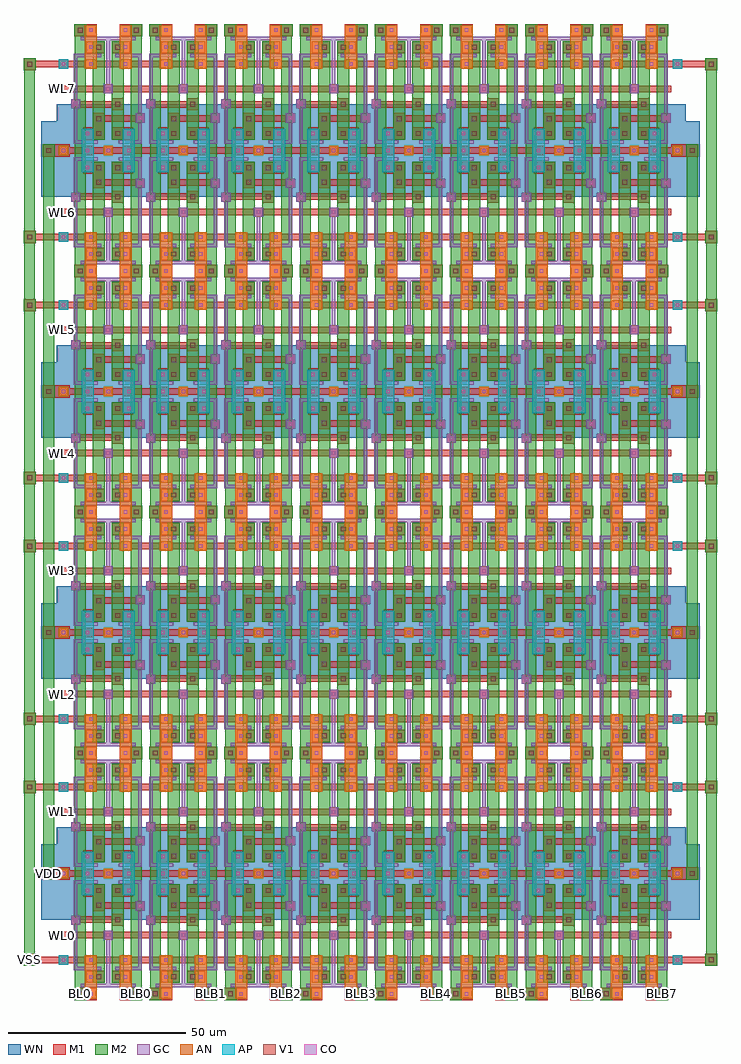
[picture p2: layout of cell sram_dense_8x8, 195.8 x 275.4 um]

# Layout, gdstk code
import gdstk
lib = gdstk.Library(unit=1e-6, precision=1e-07)
def R(c, l, rs):  # rectangles x0, y0, x1, y1
    for r in rs: c.add(gdstk.rectangle(r[:2], r[2:], *l))
def A(c, l, x, y, w, h, nx, ny, dx, dy):  # array of equal rectangles
    R(c, l, [(x+i*dx, y+j*dy, x+i*dx+w, y+j*dy+h) for i in range(nx) for j in range(ny)])
AP = (3, 1)
AN = (3, 2)
GC = (8, 1)
CO = (11, 0)
M1 = (13, 0)
V1 = (19, 0)
M2 = (20, 0)
WN = (140, 0)

sram_dense = lib.new_cell('sram_dense')
R(sram_dense, AP, [(3.3,27.9,6.7,35.3), (14.9,27.9,18.3,35.3)])
R(sram_dense, AN, [(4.2,-1.3,7.6,10.9), (14,-1.3,17.4,10.9), (9.5,32.7,12.1,35.3)])
R(sram_dense, GC, [(3,1.9,8.8,2.9), (5.4,1.9,16.2,2.9), (10.3,1.9,11.3,17.1), (12.8,1.9,18.6,2.9), (1.1,6.7,6.4,7.7), (1.1,6.7,2.1,32.1), (3,6.7,8.8,7.7), (12.8,6.7,18.6,7.7), (15.2,6.7,20.3,7.7), (19.3,6.7,20.3,32.1), (9.5,15.3,12.1,17.9), (0.3,19.5,2.9,22.1), (18.5,23.5,21.1,26.1), (1.1,31.1,5.5,32.1), (2.1,31.1,7.9,32.1), (13.7,31.1,19.5,32.1), (16.1,31.1,20.3,32.1)])
A(sram_dense, CO, 5.4, -0.5, 1, 1, 1, 3, 0, 4.8)
A(sram_dense, CO, 15.2, -0.5, 1, 1, 1, 3, 0, 4.8)
A(sram_dense, CO, 4.5, 33.5, 1, 1, 3, 1, 5.8, 0)
R(sram_dense, CO, [(10.3,16.1,11.3,17.1), (1.1,20.3,2.1,21.3), (19.3,24.3,20.3,25.3), (4.5,28.7,5.5,29.7), (16.1,28.7,17.1,29.7)])
A(sram_dense, M1, 4.6, -1.3, 2.6, 2.6, 1, 3, 0, 4.8)
A(sram_dense, M1, 14.4, -1.3, 2.6, 2.6, 1, 3, 0, 4.8)
A(sram_dense, M1, 3.7, 32.7, 2.6, 2.6, 3, 1, 5.8, 0)
R(sram_dense, M1, [(1.2,-1.7,7.6,1.7), (1.2,-1.7,4.6,1.7), (14,-1.7,20.4,1.7), (17,-1.7,20.4,1.7), (4.6,3.1,9.4,6.5), (6.4,3.1,9.8,6.5), (11.8,3.1,15.2,6.5), (12.2,3.1,17,6.5), (0,8.7,21.2,10.5), (9.5,15.3,12.1,17.9), (0,15.7,21.2,17.5), (11.8,19.3,15.2,22.7), (0.3,19.5,2.9,22.1), (0.7,20.1,14.4,21.9), (6.4,23.3,9.8,26.7), (6.4,23.3,9.8,30.9), (18.5,23.5,21.1,26.1), (7.2,24.1,20.7,25.9), (3.7,27.5,9.4,30.9), (6.4,27.5,9.8,30.9), (11.8,27.5,15.2,30.9), (12.2,27.5,17.9,30.9), (3.7,27.9,6.3,30.5), (15.3,27.9,17.9,30.5), (0,33.1,21.2,34.9)])
R(sram_dense, V1, [(2.2,-0.7,3.6,0.7), (18,-0.7,19.4,0.7), (7.4,4.1,8.8,5.5), (12.8,4.1,14.2,5.5), (12.8,20.3,14.2,21.7), (7.4,24.3,8.8,25.7), (7.4,28.5,8.8,29.9), (12.8,28.5,14.2,29.9)])
R(sram_dense, M2, [(1.2,-1.7,4.6,1.7), (1.4,-1.7,4.4,34), (17,-1.7,20.4,1.7), (17.2,-1.7,20.2,34), (6.4,3.1,9.8,6.5), (6.4,3.1,9.8,30.9), (11.8,3.1,15.2,6.5), (11.8,3.1,15.2,30.9), (11.8,19.3,15.2,22.7), (6.4,23.3,9.8,26.7), (6.4,27.5,9.8,30.9), (11.8,27.5,15.2,30.9)])
R(sram_dense, WN, [(-3.7,20.9,25.3,42.3)])

sram_dense_8x8 = lib.new_cell('sram_dense_8x8')
R(sram_dense_8x8, AP, [(-3.1,8.3,-0.5,10.9), (170.1,8.3,172.7,10.9), (-3.1,57.1,-0.5,59.7), (170.1,57.1,172.7,59.7), (-3.1,76.3,-0.5,78.9), (170.1,76.3,172.7,78.9), (-3.1,125.1,-0.5,127.7), (170.1,125.1,172.7,127.7), (-3.1,144.3,-0.5,146.9), (170.1,144.3,172.7,146.9), (-3.1,193.1,-0.5,195.7), (170.1,193.1,172.7,195.7), (-3.1,212.3,-0.5,214.9), (170.1,212.3,172.7,214.9), (-3.1,261.1,-0.5,263.7), (170.1,261.1,172.7,263.7)])
A(sram_dense_8x8, AN, -3.1, 32.7, 2.6, 2.6, 1, 4, 0, 68)
A(sram_dense_8x8, AN, 170.1, 32.7, 2.6, 2.6, 1, 4, 0, 68)
A(sram_dense_8x8, CO, -2.3, 9.1, 1, 1, 1, 3, 0, 24.4)
A(sram_dense_8x8, CO, 170.9, 9.1, 1, 1, 1, 3, 0, 24.4)
A(sram_dense_8x8, CO, -2.3, 77.1, 1, 1, 1, 3, 0, 24.4)
A(sram_dense_8x8, CO, 170.9, 77.1, 1, 1, 1, 3, 0, 24.4)
A(sram_dense_8x8, CO, -2.3, 145.1, 1, 1, 1, 3, 0, 24.4)
A(sram_dense_8x8, CO, 170.9, 145.1, 1, 1, 1, 3, 0, 24.4)
A(sram_dense_8x8, CO, -2.3, 213.1, 1, 1, 1, 3, 0, 24.4)
A(sram_dense_8x8, CO, 170.9, 213.1, 1, 1, 1, 3, 0, 24.4)
A(sram_dense_8x8, M1, -3.1, 8.3, 2.6, 2.6, 1, 3, 0, 24.4)
A(sram_dense_8x8, M1, 170.1, 8.3, 2.6, 2.6, 1, 3, 0, 24.4)
A(sram_dense_8x8, M1, 0, 8.7, 169.6, 1.8, 1, 3, 0, 24.4)
A(sram_dense_8x8, M1, -7.7, 32.3, 7.6, 3.4, 1, 4, 0, 68)
A(sram_dense_8x8, M1, -7.7, 32.3, 3.4, 3.4, 1, 4, 0, 68)
A(sram_dense_8x8, M1, 169.7, 32.3, 7.6, 3.4, 1, 4, 0, 68)
A(sram_dense_8x8, M1, 173.9, 32.3, 3.4, 3.4, 1, 4, 0, 68)
A(sram_dense_8x8, M1, -2.7, 33.1, 3.6, 1.8, 1, 4, 0, 68)
A(sram_dense_8x8, M1, 168.7, 33.1, 3.6, 1.8, 1, 4, 0, 68)
A(sram_dense_8x8, M1, -3.1, 76.3, 2.6, 2.6, 1, 3, 0, 24.4)
A(sram_dense_8x8, M1, 170.1, 76.3, 2.6, 2.6, 1, 3, 0, 24.4)
A(sram_dense_8x8, M1, 0, 76.7, 169.6, 1.8, 1, 3, 0, 24.4)
A(sram_dense_8x8, M1, -3.1, 144.3, 2.6, 2.6, 1, 3, 0, 24.4)
A(sram_dense_8x8, M1, 170.1, 144.3, 2.6, 2.6, 1, 3, 0, 24.4)
A(sram_dense_8x8, M1, 0, 144.7, 169.6, 1.8, 1, 3, 0, 24.4)
A(sram_dense_8x8, M1, -3.1, 212.3, 2.6, 2.6, 1, 3, 0, 24.4)
A(sram_dense_8x8, M1, 170.1, 212.3, 2.6, 2.6, 1, 3, 0, 24.4)
A(sram_dense_8x8, M1, 0, 212.7, 169.6, 1.8, 1, 3, 0, 24.4)
R(sram_dense_8x8, M1, [(-13.1,7.9,-9.7,11.3), (179.3,7.9,182.7,11.3), (-12.3,8.7,0.9,10.5), (168.7,8.7,181.9,10.5), (-3,15.7,169.6,17.5), (-3,50.5,169.6,52.3), (-13.1,56.7,-9.7,60.1), (179.3,56.7,182.7,60.1), (-12.3,57.5,0.9,59.3), (168.7,57.5,181.9,59.3), (-13.1,75.9,-9.7,79.3), (179.3,75.9,182.7,79.3), (-12.3,76.7,0.9,78.5), (168.7,76.7,181.9,78.5), (-3,83.7,169.6,85.5), (-3,118.5,169.6,120.3), (-13.1,124.7,-9.7,128.1), (179.3,124.7,182.7,128.1), (-12.3,125.5,0.9,127.3), (168.7,125.5,181.9,127.3), (-13.1,143.9,-9.7,147.3), (179.3,143.9,182.7,147.3), (-12.3,144.7,0.9,146.5), (168.7,144.7,181.9,146.5), (-3,151.7,169.6,153.5), (-3,186.5,169.6,188.3), (-13.1,192.7,-9.7,196.1), (179.3,192.7,182.7,196.1), (-12.3,193.5,0.9,195.3), (168.7,193.5,181.9,195.3), (-13.1,211.9,-9.7,215.3), (179.3,211.9,182.7,215.3), (-12.3,212.7,0.9,214.5), (168.7,212.7,181.9,214.5), (-3,219.7,169.6,221.5), (-3,254.5,169.6,256.3), (-13.1,260.7,-9.7,264.1), (179.3,260.7,182.7,264.1), (-12.3,261.5,0.9,263.3), (168.7,261.5,181.9,263.3)])
A(sram_dense_8x8, V1, -6.7, 33.3, 1.4, 1.4, 1, 4, 0, 68)
A(sram_dense_8x8, V1, 174.9, 33.3, 1.4, 1.4, 1, 4, 0, 68)
R(sram_dense_8x8, V1, [(-12.1,8.9,-10.7,10.3), (180.3,8.9,181.7,10.3), (-12.1,57.7,-10.7,59.1), (180.3,57.7,181.7,59.1), (-12.1,76.9,-10.7,78.3), (180.3,76.9,181.7,78.3), (-12.1,125.7,-10.7,127.1), (180.3,125.7,181.7,127.1), (-12.1,144.9,-10.7,146.3), (180.3,144.9,181.7,146.3), (-12.1,193.7,-10.7,195.1), (180.3,193.7,181.7,195.1), (-12.1,212.9,-10.7,214.3), (180.3,212.9,181.7,214.3), (-12.1,261.7,-10.7,263.1), (180.3,261.7,181.7,263.1)])
A(sram_dense_8x8, M2, -7.7, 32.3, 3.4, 3.4, 1, 4, 0, 68)
A(sram_dense_8x8, M2, 173.9, 32.3, 3.4, 3.4, 1, 4, 0, 68)
R(sram_dense_8x8, M2, [(-13.1,7.9,-9.7,11.3), (-12.9,7.9,-9.9,264.1), (179.3,7.9,182.7,11.3), (179.5,7.9,182.5,264.1), (-7.5,32.3,-4.5,239.7), (174.1,32.3,177.1,239.7), (-13.1,56.7,-9.7,60.1), (179.3,56.7,182.7,60.1), (-13.1,75.9,-9.7,79.3), (179.3,75.9,182.7,79.3), (-13.1,124.7,-9.7,128.1), (179.3,124.7,182.7,128.1), (-13.1,143.9,-9.7,147.3), (179.3,143.9,182.7,147.3), (-13.1,192.7,-9.7,196.1), (179.3,192.7,182.7,196.1), (-13.1,211.9,-9.7,215.3), (179.3,211.9,182.7,215.3), (-13.1,260.7,-9.7,264.1), (179.3,260.7,182.7,264.1)])
A(sram_dense_8x8, WN, -8.1, 20.9, 177.7, 21.4, 1, 4, 0, 68)
A(sram_dense_8x8, WN, 0, 20.9, 177.7, 21.4, 1, 4, 0, 68)
r = gdstk.Reference(sram_dense, (0,0)); r.repetition = gdstk.Repetition(8, 1, v1=(21.2,0), v2=(0,0)); sram_dense_8x8.add(r)
r = gdstk.Reference(sram_dense, (0,68), x_reflection=True); r.repetition = gdstk.Repetition(8, 1, v1=(21.2,0), v2=(0,0)); sram_dense_8x8.add(r)
r = gdstk.Reference(sram_dense, (0,68)); r.repetition = gdstk.Repetition(8, 1, v1=(21.2,0), v2=(0,0)); sram_dense_8x8.add(r)
r = gdstk.Reference(sram_dense, (0,136), x_reflection=True); r.repetition = gdstk.Repetition(8, 1, v1=(21.2,0), v2=(0,0)); sram_dense_8x8.add(r)
r = gdstk.Reference(sram_dense, (0,136)); r.repetition = gdstk.Repetition(8, 1, v1=(21.2,0), v2=(0,0)); sram_dense_8x8.add(r)
r = gdstk.Reference(sram_dense, (0,204), x_reflection=True); r.repetition = gdstk.Repetition(8, 1, v1=(21.2,0), v2=(0,0)); sram_dense_8x8.add(r)
r = gdstk.Reference(sram_dense, (0,204)); r.repetition = gdstk.Repetition(8, 1, v1=(21.2,0), v2=(0,0)); sram_dense_8x8.add(r)
r = gdstk.Reference(sram_dense, (0,272), x_reflection=True); r.repetition = gdstk.Repetition(8, 1, v1=(21.2,0), v2=(0,0)); sram_dense_8x8.add(r)
sram_dense_8x8.add(gdstk.Label('WL0', (-2,16.6), layer=48, texttype=0))
sram_dense_8x8.add(gdstk.Label('WL1', (-2,51.4), layer=48, texttype=0))
sram_dense_8x8.add(gdstk.Label('WL2', (-2,84.6), layer=48, texttype=0))
sram_dense_8x8.add(gdstk.Label('WL3', (-2,119.4), layer=48, texttype=0))
sram_dense_8x8.add(gdstk.Label('WL4', (-2,152.6), layer=48, texttype=0))
sram_dense_8x8.add(gdstk.Label('WL5', (-2,187.4), layer=48, texttype=0))
sram_dense_8x8.add(gdstk.Label('WL6', (-2,220.6), layer=48, texttype=0))
sram_dense_8x8.add(gdstk.Label('WL7', (-2,255.4), layer=48, texttype=0))
sram_dense_8x8.add(gdstk.Label('VDD', (-6,34), layer=49, texttype=0))
sram_dense_8x8.add(gdstk.Label('VSS', (-11.4,9.6), layer=49, texttype=0))
sram_dense_8x8.add(gdstk.Label('BL0', (2.9,0), layer=49, texttype=0))
sram_dense_8x8.add(gdstk.Label('BLB0', (18.7,0), layer=49, texttype=0))
sram_dense_8x8.add(gdstk.Label('BL1', (24.1,0), layer=49, texttype=0))
sram_dense_8x8.add(gdstk.Label('BLB1', (39.9,0), layer=49, texttype=0))
sram_dense_8x8.add(gdstk.Label('BL2', (45.3,0), layer=49, texttype=0))
sram_dense_8x8.add(gdstk.Label('BLB2', (61.1,0), layer=49, texttype=0))
sram_dense_8x8.add(gdstk.Label('BL3', (66.5,0), layer=49, texttype=0))
sram_dense_8x8.add(gdstk.Label('BLB3', (82.3,0), layer=49, texttype=0))
sram_dense_8x8.add(gdstk.Label('BL4', (87.7,0), layer=49, texttype=0))
sram_dense_8x8.add(gdstk.Label('BLB4', (103.5,0), layer=49, texttype=0))
sram_dense_8x8.add(gdstk.Label('BL5', (108.9,0), layer=49, texttype=0))
sram_dense_8x8.add(gdstk.Label('BLB5', (124.7,0), layer=49, texttype=0))
sram_dense_8x8.add(gdstk.Label('BL6', (130.1,0), layer=49, texttype=0))
sram_dense_8x8.add(gdstk.Label('BLB6', (145.9,0), layer=49, texttype=0))
sram_dense_8x8.add(gdstk.Label('BL7', (151.3,0), layer=49, texttype=0))
sram_dense_8x8.add(gdstk.Label('BLB7', (167.1,0), layer=49, texttype=0))

lib.write_gds('sram_dense_8x8.gds')
